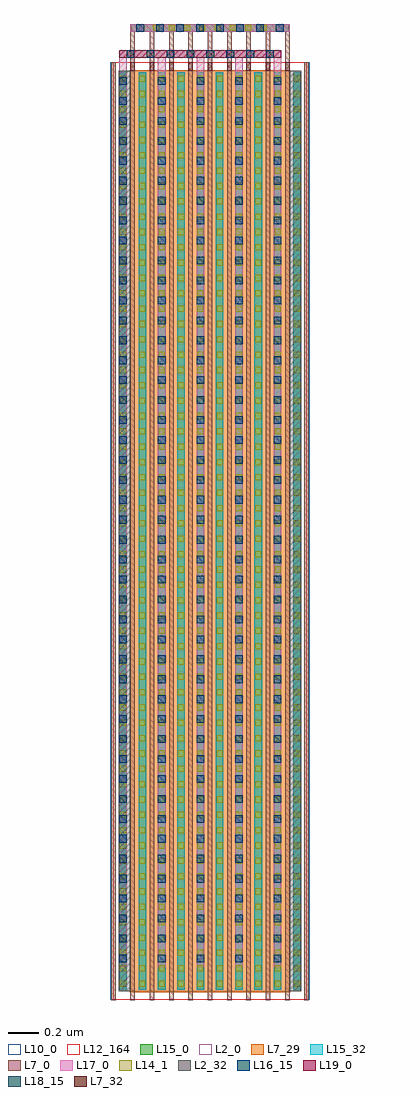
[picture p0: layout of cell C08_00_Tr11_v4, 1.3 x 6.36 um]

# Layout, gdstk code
import gdstk
lib = gdstk.Library(unit=1e-6, precision=1e-09)
def R(c, l, rs):  # rectangles x0, y0, x1, y1
    for r in rs: c.add(gdstk.rectangle(r[:2], r[2:], *l))
def A(c, l, x, y, w, h, nx, ny, dx, dy):  # array of equal rectangles
    R(c, l, [(x+i*dx, y+j*dy, x+i*dx+w, y+j*dy+h) for i in range(nx) for j in range(ny)])
L2_0 = (2, 0)
L2_32 = (2, 32)
L7_0 = (7, 0)
L7_29 = (7, 29)
L7_32 = (7, 32)
L10_0 = (10, 0)
L12_164 = (12, 164)
L14_1 = (14, 1)
L15_0 = (15, 0)
L15_32 = (15, 32)
L16_15 = (16, 15)
L17_0 = (17, 0)
L18_15 = (18, 15)
L19_0 = (19, 0)

c08_00_tr11_v4_srf_pmos_ = lib.new_cell('C08_00_Tr11_v4:SRF_Pmos:SRF_Source_ViaM1M2:SRF_ViaM1M2')
R(c08_00_tr11_v4_srf_pmos_, L15_0, [(0,-5.752,0.05,0.082)])
A(c08_00_tr11_v4_srf_pmos_, L16_15, 0, -5.72, 0.05, 0.05, 1, 45, 0, 0.13)
R(c08_00_tr11_v4_srf_pmos_, L17_0, [(0,-5.752,0.05,0.082)])

c_c08_00_tr11_v4_srf_pmos_ = lib.new_cell('C08_00_Tr11_v4:SRF_Pmos:SRF_Source_ViaM1M2')
c_c08_00_tr11_v4_srf_pmos_.add(gdstk.Reference(c08_00_tr11_v4_srf_pmos_, (-0.025,2.835)))

c_c08_00_tr11_v4_srf_pmos__ = lib.new_cell('C08_00_Tr11_v4:SRF_Pmos:SRF_Gate_ViaM0Mx:SRF_ViaM0M1')
R(c_c08_00_tr11_v4_srf_pmos__, L7_0, [(-0.01,-0.004,0.75,0.044)])
A(c_c08_00_tr11_v4_srf_pmos__, L14_1, 0, 0, 0.04, 0.04, 8, 1, 0.1, 0)
R(c_c08_00_tr11_v4_srf_pmos__, L15_0, [(-0.021,-0.005,0.761,0.045)])

c_c08_00_tr11_v4_srf_pmos___ = lib.new_cell('C08_00_Tr11_v4:SRF_Pmos:SRF_Gate_ViaM0Mx:SRF_ViaM1M2')
R(c_c08_00_tr11_v4_srf_pmos___, L15_0, [(-0.032,0,0.992,0.05)])
A(c_c08_00_tr11_v4_srf_pmos___, L16_15, 0, 0, 0.05, 0.05, 8, 1, 0.13, 0)
R(c_c08_00_tr11_v4_srf_pmos___, L17_0, [(-0.032,0,0.992,0.05)])

c_c08_00_tr11_v4_srf_pmos____ = lib.new_cell('C08_00_Tr11_v4:SRF_Pmos:SRF_Gate_ViaM0Mx')
c_c08_00_tr11_v4_srf_pmos____.add(gdstk.Reference(c_c08_00_tr11_v4_srf_pmos__, (-0.37,-0.02)))
c_c08_00_tr11_v4_srf_pmos____.add(gdstk.Reference(c_c08_00_tr11_v4_srf_pmos___, (-0.48,-0.025)))

c08_00_tr11_v4_srf_pmos = lib.new_cell('C08_00_Tr11_v4:SRF_Pmos')
R(c08_00_tr11_v4_srf_pmos, L2_0, [(-0.076,0.057,1.114,6.057)])
R(c08_00_tr11_v4_srf_pmos, L2_32, [(-0.076,0.057,0,6.057), (1.038,0.057,1.114,6.057)])
A(c08_00_tr11_v4_srf_pmos, L7_0, -0.126, 0, 0.03, 6.114, 11, 1, 0.126, 0)
A(c08_00_tr11_v4_srf_pmos, L7_0, 0, 6.114, 0.03, 0.2, 9, 1, 0.126, 0)
R(c08_00_tr11_v4_srf_pmos, L7_0, [(0,6.314,1.038,6.362)])
R(c08_00_tr11_v4_srf_pmos, L7_29, [(-0.005,0.052,1.043,6.062)])
A(c08_00_tr11_v4_srf_pmos, L7_32, 0, 6.057, 0.03, 0.057, 9, 1, 0.126, 0)
R(c08_00_tr11_v4_srf_pmos, L10_0, [(-0.132,0.001,1.17,6.113)])
R(c08_00_tr11_v4_srf_pmos, L12_164, [(-0.111,0.001,1.149,6.113)])
A(c08_00_tr11_v4_srf_pmos, L14_1, -0.068, 0.087, 0.04, 0.04, 10, 60, 0.126, 0.1)
R(c08_00_tr11_v4_srf_pmos, L15_0, [(-0.073,0.066,-0.023,6.048), (-0.073,0.066,-0.023,6.048), (0.053,0.066,0.103,6.048), (0.053,0.066,0.103,6.048), (0.179,0.066,0.229,6.048), (0.179,0.066,0.229,6.048), (0.305,0.066,0.355,6.048), (0.305,0.066,0.355,6.048), (0.431,0.066,0.481,6.048), (0.431,0.066,0.481,6.048), (0.557,0.066,0.607,6.048), (0.557,0.066,0.607,6.048), (0.683,0.066,0.733,6.048), (0.683,0.066,0.733,6.048), (0.809,0.066,0.859,6.048), (0.809,0.066,0.859,6.048), (0.935,0.066,0.985,6.048), (0.935,0.066,0.985,6.048), (1.061,0.066,1.111,6.048), (1.061,0.066,1.111,6.048)])
A(c08_00_tr11_v4_srf_pmos, L15_32, -0.073, 0.066, 0.05, 5.982, 10, 1, 0.126, 0)
A(c08_00_tr11_v4_srf_pmos, L17_0, -0.073, 6.048, 0.05, 0.095, 5, 1, 0.252, 0)
R(c08_00_tr11_v4_srf_pmos, L17_0, [(-0.073,6.143,0.985,6.193), (0,6.313,1.038,6.363)])
c08_00_tr11_v4_srf_pmos.add(gdstk.Reference(c_c08_00_tr11_v4_srf_pmos_, (-0.048,3.131)))
c08_00_tr11_v4_srf_pmos.add(gdstk.Reference(c_c08_00_tr11_v4_srf_pmos_, (0.204,3.131)))
c08_00_tr11_v4_srf_pmos.add(gdstk.Reference(c_c08_00_tr11_v4_srf_pmos_, (0.456,3.131)))
c08_00_tr11_v4_srf_pmos.add(gdstk.Reference(c_c08_00_tr11_v4_srf_pmos_, (0.708,3.131)))
c08_00_tr11_v4_srf_pmos.add(gdstk.Reference(c_c08_00_tr11_v4_srf_pmos_, (0.96,3.131)))
c08_00_tr11_v4_srf_pmos.add(gdstk.Reference(c_c08_00_tr11_v4_srf_pmos____, (0.519,6.338)))

c08_00_tr11_v4_srf_sourc = lib.new_cell('C08_00_Tr11_v4:SRF_Source_ViaM2M3:SRF_ViaM2M3')
R(c08_00_tr11_v4_srf_sourc, L17_0, [(-0.032,0,0.992,0.05)])
A(c08_00_tr11_v4_srf_sourc, L18_15, 0, 0, 0.05, 0.05, 8, 1, 0.13, 0)
R(c08_00_tr11_v4_srf_sourc, L19_0, [(-0.032,0,0.992,0.05)])

c_c08_00_tr11_v4_srf_sourc = lib.new_cell('C08_00_Tr11_v4:SRF_Source_ViaM2M3')
c_c08_00_tr11_v4_srf_sourc.add(gdstk.Reference(c08_00_tr11_v4_srf_sourc, (-0.48,-0.025)))

c08_00_tr11_v4 = lib.new_cell('C08_00_Tr11_v4')
R(c08_00_tr11_v4, L19_0, [(-0.073,6.143,0.985,6.193)])
c08_00_tr11_v4.add(gdstk.Reference(c08_00_tr11_v4_srf_pmos, (0,0)))
c08_00_tr11_v4.add(gdstk.Reference(c_c08_00_tr11_v4_srf_sourc, (0.456,6.168)))

lib.write_gds('C08_00_Tr11_v4.gds')
